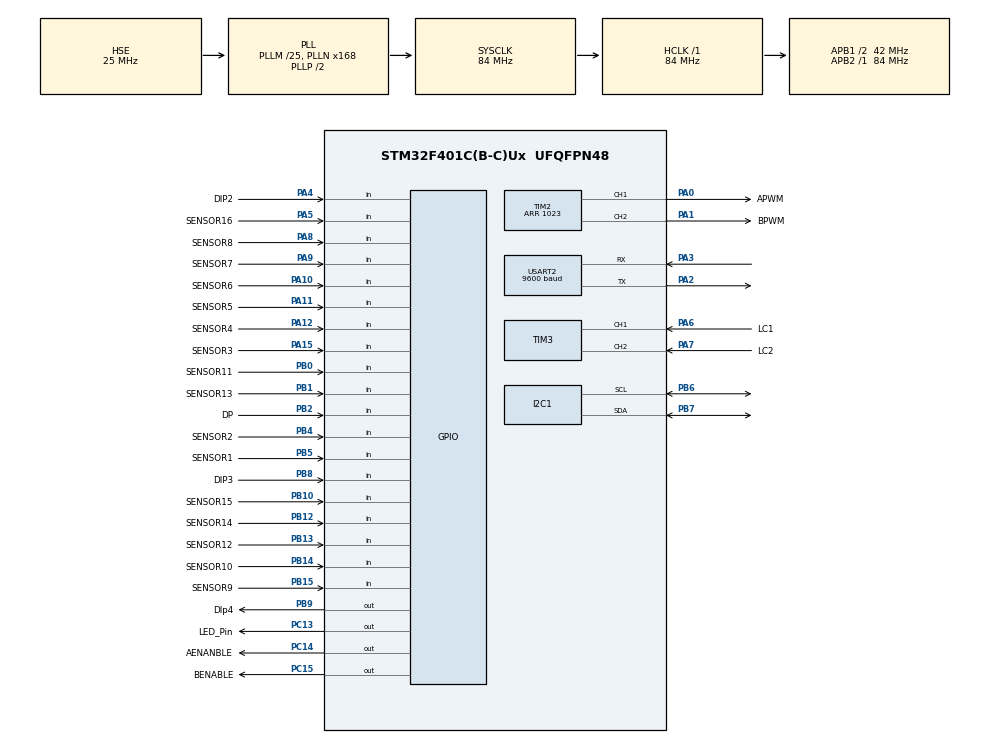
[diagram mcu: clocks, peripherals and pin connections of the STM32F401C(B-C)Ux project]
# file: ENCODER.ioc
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Mcu.Family=STM32F4
Mcu.Name=STM32F401C(B-C)Ux
Mcu.Package=UFQFPN48
NVIC.PriorityGroup=NVIC_PRIORITYGROUP_4
PA0-WKUP.GPIO_Label=APWM
PA0-WKUP.Signal=S_TIM2_CH1_ETR
PA1.GPIO_Label=BPWM
PA1.Signal=S_TIM2_CH2
PA10.GPIO_Label=SENSOR6
PA10.Signal=GPIO_Input
PA11.GPIO_Label=SENSOR5
PA11.Signal=GPIO_Input
PA12.GPIO_Label=SENSOR4
PA12.Signal=GPIO_Input
PA13.Mode=Trace_Asynchronous_SW
PA13.Signal=SYS_JTMS-SWDIO
PA14.Mode=Trace_Asynchronous_SW
PA14.Signal=SYS_JTCK-SWCLK
PA15.GPIO_Label=SENSOR3
PA15.Signal=GPIO_Input
PA2.Mode=Asynchronous
PA2.Signal=USART2_TX
PA3.Mode=Asynchronous
PA3.Signal=USART2_RX
PA4.GPIO_Label=DIP2
PA4.Signal=GPIO_Input
PA5.GPIO_Label=SENSOR16
PA5.Signal=GPIO_Input
PA6.GPIO_Label=LC1
PA6.Signal=S_TIM3_CH1
PA7.GPIO_Label=LC2
PA7.Signal=S_TIM3_CH2
PA8.GPIO_Label=SENSOR8
PA8.GPIO_PuPd=GPIO_NOPULL
PA8.Signal=GPIO_Input
PA9.GPIO_Label=SENSOR7
PA9.Signal=GPIO_Input
PB0.GPIO_Label=SENSOR11
PB0.Signal=GPIO_Input
PB1.GPIO_Label=SENSOR13
PB1.Signal=GPIO_Input
PB10.GPIO_Label=SENSOR15
PB10.Signal=GPIO_Input
PB12.GPIO_Label=SENSOR14
PB12.Signal=GPIO_Input
PB13.GPIO_Label=SENSOR12
PB13.Signal=GPIO_Input
PB14.GPIO_Label=SENSOR10
PB14.Signal=GPIO_Input
PB15.GPIO_Label=SENSOR9
PB15.Signal=GPIO_Input
PB2.GPIO_Label=DP
PB2.Signal=GPIO_Input
PB3.Mode=Trace_Asynchronous_SW
PB3.Signal=SYS_JTDO-SWO
PB4.GPIO_Label=SENSOR2
PB4.Signal=GPIO_Input
PB5.GPIO_Label=SENSOR1
PB5.Signal=GPIO_Input
PB6.Mode=I2C
PB6.Signal=I2C1_SCL
PB7.Mode=I2C
PB7.Signal=I2C1_SDA
PB8.GPIO_Label=DIP3
PB8.Signal=GPIO_Input
PB9.GPIO_Label=DIp4
PB9.Signal=GPIO_Output
PC13-ANTI_TAMP.GPIO_Label=LED_Pin
PC13-ANTI_TAMP.PinState=GPIO_PIN_RESET
PC13-ANTI_TAMP.Signal=GPIO_Output
PC14-OSC32_IN.GPIO_Label=AENANBLE
PC14-OSC32_IN.Signal=GPIO_Output
PC15-OSC32_OUT.GPIO_Label=BENABLE
PC15-OSC32_OUT.Signal=GPIO_Output
PH0\ -\ OSC_IN.Mode=HSE-External-Oscillator
PH0\ -\ OSC_IN.Signal=RCC_OSC_IN
PH1\ -\ OSC_OUT.Mode=HSE-External-Oscillator
PH1\ -\ OSC_OUT.Signal=RCC_OSC_OUT
ProjectManager.HeapSize=0x200
ProjectManager.StackSize=0x400
ProjectManager.TargetToolchain=STM32CubeIDE
RCC.48MHZClocksFreq_Value=42000000
RCC.AHBFreq_Value=84000000
RCC.APB1CLKDivider=RCC_HCLK_DIV2
RCC.APB1Freq_Value=42000000
RCC.APB1TimFreq_Value=84000000
RCC.APB2Freq_Value=84000000
RCC.APB2TimFreq_Value=84000000
RCC.CortexFreq_Value=84000000
RCC.HCLKFreq_Value=84000000
RCC.HSE_VALUE=25000000
RCC.HSI_VALUE=16000000
RCC.LSE_VALUE=32768
RCC.PLLM=25
RCC.PLLN=168
RCC.PLLSourceVirtual=RCC_PLLSOURCE_HSE
RCC.SYSCLKFreq_VALUE=84000000
RCC.SYSCLKSource=RCC_SYSCLKSOURCE_PLLCLK
RCC.VCOOutputFreq_Value=168000000
SH.S_TIM2_CH1_ETR.0=TIM2_CH1,PWM Generation1 CH1
SH.S_TIM2_CH2.0=TIM2_CH2,PWM Generation2 CH2
SH.S_TIM3_CH1.0=TIM3_CH1,Encoder_Interface
SH.S_TIM3_CH2.0=TIM3_CH2,Encoder_Interface
TIM2.Channel-PWM\ Generation1\ CH1=TIM_CHANNEL_1
TIM2.Channel-PWM\ Generation2\ CH2=TIM_CHANNEL_2
TIM2.Period=1023
TIM3.AutoReloadPreload=TIM_AUTORELOAD_PRELOAD_ENABLE
TIM3.EncoderMode=TIM_ENCODERMODE_TI12
TIM3.IC1Filter=10
TIM3.IC2Polarity=TIM_ICPOLARITY_RISING
USART2.BaudRate=9600
USART2.VirtualMode=VM_ASYNC
VP_TIM2_VS_ClockSourceINT.Mode=Internal
board=custom

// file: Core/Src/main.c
/* USER CODE BEGIN Header */
/**
  ******************************************************************************
  * @file           : main.c
  * @brief          : Main program body
  ******************************************************************************
  * @attention
  *
  * Copyright (c) 2024 STMicroelectronics.
  * All rights reserved.
  *
  * This software is licensed under terms that can be found in the LICENSE file
  * in the root directory of this software component.
  * If no LICENSE file comes with this software, it is provided AS-IS.
  *
  ******************************************************************************
  */
/* USER CODE END Header */
#include "main.h"
#include "i2c.h"
#include "tim.h"
#include "usart.h"
#include "gpio.h"

/* USER CODE BEGIN Includes */
#include "stdio.h" // Needed for debugging
//#include "i2c.h"
//#include "MPUXX50.h"
/* USER CODE END Includes */

/* USER CODE BEGIN PM */

#define SYSTICK_LOAD (SystemCoreClock/1000000U)
#define SYSTICK_DELAY_CALIB (SYSTICK_LOAD >> 1)

#define DELAY_US(us) \
    do { \
         uint32_t start = SysTick->VAL; \
         uint32_t ticks = (us * SYSTICK_LOAD)-SYSTICK_DELAY_CALIB;  \
         while((start - SysTick->VAL) < ticks); \
    } while (0)

/* USER CODE END PM */

/* USER CODE BEGIN PV */

//int sensor_read = 0x00000000;
	int position;

	float Kp = 0.09;//0.083*1.9*1.2;//0.120/26;// 0.00325,0.0195,0.5 for 556 Base_speed also works for 656 but slghlty unstable
	float Ki = 0;  //0.05,0.024,0.8 for 700 Base_speed
	float Kd = 0.95;//.83*0.6*1.05; //0.03*5;//1.2; //0.5
	float Kr = 0.001;//do not touch
	int P, I, D, R;
	int lastError = 0;
	int errors[10] = {0,0,0,0,0,0,0,0,0,0};
	int error_sum = 0;
	int last_end = 0;	// 0 -> Left, 1 -> Right
	int last_idle = 0;

	uint32_t basespeed = 650;
	uint32_t maxspeedr = 1000;
	uint32_t maxspeedl = 1000;
	uint32_t basespeedr = 750; // as a minimum 125 works
	uint32_t basespeedl = 750;// as a minimum 125 works
	const uint32_t sharp = 0;
	const int ARR = 1;//do nout touch
	const int poser = 2;//do not touch
	int SENSOR_DELAY = 5000;
	int calib_active =0;

	int actives = 0;

/* USER CODE END PV */

void SystemClock_Config(void);

/* USER CODE BEGIN 0 */
	int _write(int file, char *ptr , int len)
		{
			int DataIdx;
			for(DataIdx=0;DataIdx<len; DataIdx++){
				ITM_SendChar(*ptr++);
			}return len;
		}

	void Set_Pin_Output (GPIO_TypeDef *GPIOx, uint16_t GPIO_Pin)
	{
		GPIO_InitTypeDef GPIO_InitStruct = {0};
		GPIO_InitStruct.Pin = GPIO_Pin;
		GPIO_InitStruct.Mode = GPIO_MODE_OUTPUT_PP;
		GPIO_InitStruct.Speed = GPIO_SPEED_FREQ_LOW;
		HAL_GPIO_Init(GPIOx, &GPIO_InitStruct);
	}

	void Set_Pin_Input (GPIO_TypeDef *GPIOx, uint16_t GPIO_Pin)
	{
		GPIO_InitTypeDef GPIO_InitStruct = {0};
		GPIO_InitStruct.Pin = GPIO_Pin;
		GPIO_InitStruct.Mode = GPIO_MODE_INPUT;
		GPIO_InitStruct.Pull = GPIO_PULLUP;
		HAL_GPIO_Init(GPIOx, &GPIO_InitStruct);
	}

	void motor_control (double pos_right, double pos_left)
	{
		if (pos_left < 0 )
		{
			HAL_GPIO_WritePin(AENANBLE_GPIO_Port, AENANBLE_Pin, 1);
			__HAL_TIM_SET_COMPARE (&htim2, TIM_CHANNEL_2, -1*pos_left);  //run left motor in reverese
		}
		else
		{
			HAL_GPIO_WritePin(AENANBLE_GPIO_Port, AENANBLE_Pin, 0);
			__HAL_TIM_SET_COMPARE (&htim2, TIM_CHANNEL_2, ARR*pos_left); // run left motor forward

		}
		if (pos_right < 0 )
		{
			HAL_GPIO_WritePin(BENABLE_GPIO_Port, BENABLE_Pin, 1); //run right motor reverse
			__HAL_TIM_SET_COMPARE (&htim2, TIM_CHANNEL_1, -1*pos_right);
		}
		else
		{
			HAL_GPIO_WritePin(BENABLE_GPIO_Port, BENABLE_Pin, 0);
			__HAL_TIM_SET_COMPARE (&htim2, TIM_CHANNEL_1, ARR*pos_right); // run right motor forward
			//printf("motor control: %lf %lf",pos_left,pos_right);

		}
		printf("Motor : %lf %lf", pos_left, pos_right);

	}

	int QTR16_read() {
	    //uint32_t sensor_read = 0x00000000;
	    int pos = 0;
	    int active = 0;
	    //int last_end = -1;  // Initialize to -1 to indicate no sensors are read yet already declared as global variable
	   // int actives;
	    //int last_idle = 0;
	    //int position;

		Set_Pin_Output(SENSOR1_GPIO_Port, SENSOR1_Pin);
		Set_Pin_Output(SENSOR2_GPIO_Port, SENSOR2_Pin);
		Set_Pin_Output(SENSOR3_GPIO_Port, SENSOR3_Pin);
		Set_Pin_Output(SENSOR4_GPIO_Port, SENSOR4_Pin);
		Set_Pin_Output(SENSOR5_GPIO_Port, SENSOR5_Pin);
		Set_Pin_Output(SENSOR6_GPIO_Port, SENSOR6_Pin);
		Set_Pin_Output(SENSOR7_GPIO_Port, SENSOR7_Pin);
		Set_Pin_Output(SENSOR8_GPIO_Port, SENSOR8_Pin);
		Set_Pin_Output(SENSOR9_GPIO_Port, SENSOR9_Pin);
		Set_Pin_Output(SENSOR10_GPIO_Port, SENSOR10_Pin);
		Set_Pin_Output(SENSOR11_GPIO_Port, SENSOR11_Pin);
		Set_Pin_Output(SENSOR12_GPIO_Port, SENSOR12_Pin);
		Set_Pin_Output(SENSOR13_GPIO_Port, SENSOR13_Pin);
		Set_Pin_Output(SENSOR14_GPIO_Port, SENSOR14_Pin);
		Set_Pin_Output(SENSOR15_GPIO_Port, SENSOR15_Pin);
		Set_Pin_Output(SENSOR16_GPIO_Port, SENSOR16_Pin);

		HAL_GPIO_WritePin(SENSOR1_GPIO_Port, SENSOR1_Pin,1);
		HAL_GPIO_WritePin(SENSOR2_GPIO_Port, SENSOR2_Pin,1);
		HAL_GPIO_WritePin(SENSOR3_GPIO_Port, SENSOR3_Pin,1);
		HAL_GPIO_WritePin(SENSOR4_GPIO_Port, SENSOR4_Pin,1);
		HAL_GPIO_WritePin(SENSOR5_GPIO_Port, SENSOR5_Pin,1);
		HAL_GPIO_WritePin(SENSOR6_GPIO_Port, SENSOR6_Pin,1);
		HAL_GPIO_WritePin(SENSOR7_GPIO_Port, SENSOR7_Pin,1);
		HAL_GPIO_WritePin(SENSOR8_GPIO_Port, SENSOR8_Pin,1);
		HAL_GPIO_WritePin(SENSOR9_GPIO_Port, SENSOR9_Pin,1);
		HAL_GPIO_WritePin(SENSOR10_GPIO_Port, SENSOR10_Pin,1);
		HAL_GPIO_WritePin(SENSOR11_GPIO_Port, SENSOR11_Pin,1);
		HAL_GPIO_WritePin(SENSOR12_GPIO_Port, SENSOR12_Pin,1);
		HAL_GPIO_WritePin(SENSOR13_GPIO_Port, SENSOR13_Pin,1);
		HAL_GPIO_WritePin(SENSOR14_GPIO_Port, SENSOR14_Pin,1);
		HAL_GPIO_WritePin(SENSOR15_GPIO_Port, SENSOR15_Pin,1);
		HAL_GPIO_WritePin(SENSOR16_GPIO_Port, SENSOR16_Pin,1);

		DELAY_US(20);

		Set_Pin_Input(SENSOR1_GPIO_Port, SENSOR1_Pin);
		Set_Pin_Input(SENSOR2_GPIO_Port, SENSOR2_Pin);
		Set_Pin_Input(SENSOR3_GPIO_Port, SENSOR3_Pin);
		Set_Pin_Input(SENSOR4_GPIO_Port, SENSOR4_Pin);
		Set_Pin_Input(SENSOR5_GPIO_Port, SENSOR5_Pin);
		Set_Pin_Input(SENSOR6_GPIO_Port, SENSOR6_Pin);
		Set_Pin_Input(SENSOR7_GPIO_Port, SENSOR7_Pin);
		Set_Pin_Input(SENSOR8_GPIO_Port, SENSOR8_Pin);
		Set_Pin_Input(SENSOR9_GPIO_Port, SENSOR9_Pin);
		Set_Pin_Input(SENSOR10_GPIO_Port, SENSOR10_Pin);
		Set_Pin_Input(SENSOR11_GPIO_Port, SENSOR11_Pin);
		Set_Pin_Input(SENSOR12_GPIO_Port, SENSOR12_Pin);
		Set_Pin_Input(SENSOR13_GPIO_Port, SENSOR13_Pin);
		Set_Pin_Input(SENSOR14_GPIO_Port, SENSOR14_Pin);
		Set_Pin_Input(SENSOR15_GPIO_Port, SENSOR15_Pin);
		Set_Pin_Input(SENSOR16_GPIO_Port, SENSOR16_Pin);

		// Threshold
		DELAY_US(4500);
		//DELAY_US(25);
		/*for(int i=0;i<=SENSOR_DELAY;i++)
			DELAY_US(500); */

		 printf("Hello");

	    // Read from 16 sensors
		//printf("Sensor read called");
		/*
	    if (HAL_GPIO_ReadPin(SENSOR1_GPIO_Port, SENSOR1_Pin)) {
	        //sensor_read |= 0x00000001;
	       pos += -500;
	        active++;
	        last_end = 1;
	        printf("1");
	    }
	    if (HAL_GPIO_ReadPin(SENSOR2_GPIO_Port, SENSOR2_Pin)) {
	       // sensor_read |= 0x00000002;0
	        pos += 1400;
	        active++;
	       // last_end = 1;
	        printf("2");
	    }
	    if (HAL_GPIO_ReadPin(SENSOR3_GPIO_Port, SENSOR3_Pin)) {
	      //  sensor_read |= 0x00000004;
	        pos += 2300;
	        active++;
	        printf("3");
	    }
	    if (HAL_GPIO_ReadPin(SENSOR4_GPIO_Port, SENSOR4_Pin)) {
	       // sensor_read |= 0x00000008;
	        pos += 3200;
	        active++;
	        printf("4");
	    }
	    */
	    if (HAL_GPIO_ReadPin(SENSOR5_GPIO_Port, SENSOR5_Pin)) {
	        //sensor_read |= 0x00000010;
	        pos += 1000;
	        active++;
	        last_end=1;
	        printf("5");
	    }
	    if (HAL_GPIO_ReadPin(SENSOR6_GPIO_Port, SENSOR6_Pin)) {
	       // sensor_read |= 0x00000020;
	        pos += 2000;
	        active++;
	        printf("6");
	    }
	    if (HAL_GPIO_ReadPin(SENSOR7_GPIO_Port, SENSOR7_Pin)) {
	       // sensor_read |= 0x00000040;
	        pos += 3000;
	        active++;
	        printf("7");
	    }
	    if (HAL_GPIO_ReadPin(SENSOR8_GPIO_Port, SENSOR8_Pin)) {
	      //  sensor_read |= 0x00000080;
	        pos += 4000;
	        active++;
	        printf("8");
	    }
	    if (HAL_GPIO_ReadPin(SENSOR9_GPIO_Port, SENSOR9_Pin)) {
	       // sensor_read |= 0x00000100;
	        pos += 5000;
	        active++;
	        printf("9");
	    }
	    if (HAL_GPIO_ReadPin(SENSOR10_GPIO_Port, SENSOR10_Pin)) {
	      //  sensor_read |= 0x00000200;
	        pos += 6000;
	        active++;
	        printf("10");
	    }
	    if (HAL_GPIO_ReadPin(SENSOR11_GPIO_Port, SENSOR11_Pin)) {
	      //  sensor_read |= 0x00000400;
	        pos += 7000;
	        active++;
	        printf("11");
	    }
	    if (HAL_GPIO_ReadPin(SENSOR12_GPIO_Port, SENSOR12_Pin)) {
	      //  sensor_read |= 0x00000800;
	        pos += 8000;
	        active++;
	        last_end=0;
	        printf("12");
	    }
	    /*
	    if (HAL_GPIO_ReadPin(SENSOR13_GPIO_Port, SENSOR13_Pin)) {
	      //  sensor_read |= 0x00001000;
	        pos += 11800;
	        active++;
	        printf("13");
	    }
	    if (HAL_GPIO_ReadPin(SENSOR14_GPIO_Port, SENSOR14_Pin)) {
	       // sensor_read |= 0x00002000;
	        pos += 12700;
	        active++;
	        printf("14");
	    }
	    if (HAL_GPIO_ReadPin(SENSOR15_GPIO_Port, SENSOR15_Pin)) {
	      // sensor_read |= 0x00004000;
	        pos += 13600;
	        active++;
	       // last_end = 0;
	        printf("15");
	    }
	    if (HAL_GPIO_ReadPin(SENSOR16_GPIO_Port, SENSOR16_Pin)) {
	       // sensor_read |= 0x00008000;
	        pos += 14500;
	        active++;
	        last_end = 0;
	        printf("16");
	    }
	*/
	    // Calculate the average position
	    actives = active;
	     // Handle division by zero
	    //position = pos/active;
	    if (actives == 0){
	        last_idle++;
	    	return -1;
	    }else
	    {
	        last_idle = 0;
	    }
	    printf("helloo\n");

	   // HAL_Delay(10);

	    return   pos / active ;
	    //return 0;

	}

	void sharp_turn () {

			if (last_idle < 10)   //last idle increments while no sensor reads a line and causes bot to turn to find line
			{						// set to handle curves
				if (last_end == 0) //last end tells which side of sensor array last saw the line
					motor_control(200, 500);
				else
					motor_control(500, 200);
				//tune the values to handle the curves
			}
			else //set to handle sharp turns
			{
				if (last_end == 0)
					motor_control(-230, 1000);// tune the values to handle the sharp turns
				else
					motor_control(1000, -230);
			}
			printf("Sharp turn");
		}

	void forward_brake(int pos_right, int pos_left)
	{
		if (actives == 0)
			sharp_turn();
		else
		  motor_control(pos_right, pos_left);
	}
	int errors_sum (int index, int abs)
	{
	  int sum = 0;
	  for (int i = 0; i < index; i++)
	  {
	    if (abs == 1 && errors[i] < 0)
	      sum += -errors[i];
	    else
	      sum += errors[i];
	  }
	  return sum;
	}
	void past_errors (int error)
		{
		  for (int i = 9; i > 0; i--)
			  errors[i] = errors[i-1];
		  errors[0] = error;
		}

/*
	void past_errors (int error)
	{
	  for (int i = 9; i > 0; i--)
		  errors[i] = errors[i-1];
	  errors[0] = error;
	}

	int errors_sum (int index, int abs)
	{
	  int sum = 0;
	  for (int i = 0; i < index; i++)
	  {
		if ((abs == 1) &( errors[i] < 0))
		  sum += -errors[i];
		else
		  sum += errors[i];
	  }
	  return sum;
	}//*/

	void PID_control() {
		uint32_t position = QTR16_read();
	  int error = (4500) - position;  // needs to be changed for 16 array?
		past_errors(error);

	  P = error;
	  I = 0;//errors_sum(5, 0);
	  D = error - lastError;
	  R = errors_sum(3, 1);
	  lastError = error;

	  int motorspeed = P*Kp + I*Ki + D*Kd;

	  int motorspeedl = basespeedl + motorspeed - R*Kr;
	  int motorspeedr = basespeedr - motorspeed - R*Kr;

	  if (motorspeedl > maxspeedl){   //implement antiwindup for potential speed increase and acuracy?
		motorspeedl = maxspeedl;
	  }
	  if (motorspeedr > maxspeedr){
		motorspeedr = maxspeedr;
	  }
	  //printf("Motor SPEEDS : %d %d", motorspeedl, motorspeedr);

		forward_brake(motorspeedr, motorspeedl);
	}

	void Sensor_Calib(){
		//SENSOR_DELAY =7000;
		//calib_active = 0;
		while(calib_active <8){
			//printf("hi");
			calib_active = 0;
		Set_Pin_Output(SENSOR1_GPIO_Port, SENSOR1_Pin);
				Set_Pin_Output(SENSOR2_GPIO_Port, SENSOR2_Pin);
				Set_Pin_Output(SENSOR3_GPIO_Port, SENSOR3_Pin);
				Set_Pin_Output(SENSOR4_GPIO_Port, SENSOR4_Pin);
				Set_Pin_Output(SENSOR5_GPIO_Port, SENSOR5_Pin);
				Set_Pin_Output(SENSOR6_GPIO_Port, SENSOR6_Pin);
				Set_Pin_Output(SENSOR7_GPIO_Port, SENSOR7_Pin);
				Set_Pin_Output(SENSOR8_GPIO_Port, SENSOR8_Pin);
				Set_Pin_Output(SENSOR9_GPIO_Port, SENSOR9_Pin);
				Set_Pin_Output(SENSOR10_GPIO_Port, SENSOR10_Pin);
				Set_Pin_Output(SENSOR11_GPIO_Port, SENSOR11_Pin);
				Set_Pin_Output(SENSOR12_GPIO_Port, SENSOR12_Pin);
				Set_Pin_Output(SENSOR13_GPIO_Port, SENSOR13_Pin);
				Set_Pin_Output(SENSOR14_GPIO_Port, SENSOR14_Pin);
				Set_Pin_Output(SENSOR15_GPIO_Port, SENSOR15_Pin);
				Set_Pin_Output(SENSOR16_GPIO_Port, SENSOR16_Pin);

				HAL_GPIO_WritePin(SENSOR1_GPIO_Port, SENSOR1_Pin,1);
				HAL_GPIO_WritePin(SENSOR2_GPIO_Port, SENSOR2_Pin,1);
				HAL_GPIO_WritePin(SENSOR3_GPIO_Port, SENSOR3_Pin,1);
				HAL_GPIO_WritePin(SENSOR4_GPIO_Port, SENSOR4_Pin,1);
				HAL_GPIO_WritePin(SENSOR5_GPIO_Port, SENSOR5_Pin,1);
				HAL_GPIO_WritePin(SENSOR6_GPIO_Port, SENSOR6_Pin,1);
				HAL_GPIO_WritePin(SENSOR7_GPIO_Port, SENSOR7_Pin,1);
				HAL_GPIO_WritePin(SENSOR8_GPIO_Port, SENSOR8_Pin,1);
				HAL_GPIO_WritePin(SENSOR9_GPIO_Port, SENSOR9_Pin,1);
				HAL_GPIO_WritePin(SENSOR10_GPIO_Port, SENSOR10_Pin,1);
				HAL_GPIO_WritePin(SENSOR11_GPIO_Port, SENSOR11_Pin,1);
				HAL_GPIO_WritePin(SENSOR12_GPIO_Port, SENSOR12_Pin,1);
				HAL_GPIO_WritePin(SENSOR13_GPIO_Port, SENSOR13_Pin,1);
				HAL_GPIO_WritePin(SENSOR14_GPIO_Port, SENSOR14_Pin,1);
				HAL_GPIO_WritePin(SENSOR15_GPIO_Port, SENSOR15_Pin,1);
				HAL_GPIO_WritePin(SENSOR16_GPIO_Port, SENSOR16_Pin,1);

				DELAY_US(15);

				Set_Pin_Input(SENSOR1_GPIO_Port, SENSOR1_Pin);
				Set_Pin_Input(SENSOR2_GPIO_Port, SENSOR2_Pin);
				Set_Pin_Input(SENSOR3_GPIO_Port, SENSOR3_Pin);
				Set_Pin_Input(SENSOR4_GPIO_Port, SENSOR4_Pin);
				Set_Pin_Input(SENSOR5_GPIO_Port, SENSOR5_Pin);
				Set_Pin_Input(SENSOR6_GPIO_Port, SENSOR6_Pin);
				Set_Pin_Input(SENSOR7_GPIO_Port, SENSOR7_Pin);
				Set_Pin_Input(SENSOR8_GPIO_Port, SENSOR8_Pin);
				Set_Pin_Input(SENSOR9_GPIO_Port, SENSOR9_Pin);
				Set_Pin_Input(SENSOR10_GPIO_Port, SENSOR10_Pin);
				Set_Pin_Input(SENSOR11_GPIO_Port, SENSOR11_Pin);
				Set_Pin_Input(SENSOR12_GPIO_Port, SENSOR12_Pin);
				Set_Pin_Input(SENSOR13_GPIO_Port, SENSOR13_Pin);
				Set_Pin_Input(SENSOR14_GPIO_Port, SENSOR14_Pin);
				Set_Pin_Input(SENSOR15_GPIO_Port, SENSOR15_Pin);
				Set_Pin_Input(SENSOR16_GPIO_Port, SENSOR16_Pin);

				DELAY_US(SENSOR_DELAY);
						if (HAL_GPIO_ReadPin(SENSOR1_GPIO_Port, SENSOR1_Pin)) {

							calib_active++;
					        printf("1");
					    }
					    if (HAL_GPIO_ReadPin(SENSOR2_GPIO_Port, SENSOR2_Pin)) {
					        calib_active++;
					        printf("2");
					    }
					    if (HAL_GPIO_ReadPin(SENSOR3_GPIO_Port, SENSOR3_Pin)) {
					    	calib_active++;;
					        printf("3");
					    }
					    if (HAL_GPIO_ReadPin(SENSOR4_GPIO_Port, SENSOR4_Pin)) {
					    	calib_active++;
					        printf("4");
					    }
					    if (HAL_GPIO_ReadPin(SENSOR5_GPIO_Port, SENSOR5_Pin)) {
					    	calib_active++;
					        printf("5");
					    }
					    if (HAL_GPIO_ReadPin(SENSOR6_GPIO_Port, SENSOR6_Pin)) {
					    	calib_active++;
					        printf("6");
					    }
					    if (HAL_GPIO_ReadPin(SENSOR7_GPIO_Port, SENSOR7_Pin)) {
					    	calib_active++;
					        printf("7");
					    }
					    if (HAL_GPIO_ReadPin(SENSOR8_GPIO_Port, SENSOR8_Pin)) {
					    	calib_active++;
					        printf("8");
					    }
					    if (HAL_GPIO_ReadPin(SENSOR9_GPIO_Port, SENSOR9_Pin)) {
					        calib_active++;
					        printf("9");
					    }
					    if (HAL_GPIO_ReadPin(SENSOR10_GPIO_Port, SENSOR10_Pin)) {
					    	calib_active++;
					        printf("10");
					    }
					    if (HAL_GPIO_ReadPin(SENSOR11_GPIO_Port, SENSOR11_Pin)) {
					    	calib_active++;
					        printf("11");
					    }
					    if (HAL_GPIO_ReadPin(SENSOR12_GPIO_Port, SENSOR12_Pin)) {
					    	calib_active++;
					        printf("12");
					    }
					    if (HAL_GPIO_ReadPin(SENSOR13_GPIO_Port, SENSOR13_Pin)) {
					    	calib_active++;
					        printf("13");
					    }
					    if (HAL_GPIO_ReadPin(SENSOR14_GPIO_Port, SENSOR14_Pin)) {
					    	calib_active++;
					        printf("14");
					    }
					    if (HAL_GPIO_ReadPin(SENSOR15_GPIO_Port, SENSOR15_Pin)) {
					    	calib_active++;
					        printf("15");
					    }
					    if (HAL_GPIO_ReadPin(SENSOR16_GPIO_Port, SENSOR16_Pin)) {
					    	//calib_active++;
					        printf("16");
					    }

					    printf("\n%d\n",SENSOR_DELAY--);
		}

	}

/* USER CODE END 0 */

int main(void)
{

  /* MCU Configuration--------------------------------------------------------*/

  /* Reset of all peripherals, Initializes the Flash interface and the Systick. */
  HAL_Init();

  /* Configure the system clock */
  SystemClock_Config();

  /* Initialize all configured peripherals */
  MX_GPIO_Init();
  MX_TIM3_Init();
  MX_TIM2_Init();
  MX_USART2_UART_Init();
  MX_I2C1_Init();
  /* USER CODE BEGIN 2 */
  HAL_TIM_Encoder_Start(&htim3, TIM_CHANNEL_ALL);
 // HAL_TIM_Encoder_Start(&htim4, TIM_CHANNEL_ALL);
  HAL_TIM_PWM_Start(&htim2, TIM_CHANNEL_1);
  HAL_TIM_PWM_Start(&htim2, TIM_CHANNEL_2);

  /* USER CODE END 2 */

  /* Infinite loop */
  while (1)
  {

    /* USER CODE BEGIN 3 */
	 //QTR16_read();
	  PID_control();
	  //printf("Hi");

	  //Sensor_Calib();
	  //printf("hi\n");
	  //printf("delay %d\n",SENSOR_DELAY);
	  //HAL_GPIO_WritePin(BENABLE_GPIO_Port, BENABLE_Pin, 0);
	  //__HAL_TIM_SET_COMPARE(&htim2,TIM_CHANNEL_1,1023);
	  //HAL_GPIO_WritePin(AENANBLE_GPIO_Port, AENANBLE_Pin, 1);
	  //__HAL_TIM_SET_COMPARE(&htim2,TIM_CHANNEL_2,1023);
  }
  /* USER CODE END 3 */
}

void SystemClock_Config(void)
{
  RCC_OscInitTypeDef RCC_OscInitStruct = {0};
  RCC_ClkInitTypeDef RCC_ClkInitStruct = {0};

  /** Configure the main internal regulator output voltage
  */
  __HAL_RCC_PWR_CLK_ENABLE();
  __HAL_PWR_VOLTAGESCALING_CONFIG(PWR_REGULATOR_VOLTAGE_SCALE2);

  /** Initializes the RCC Oscillators according to the specified parameters
  * in the RCC_OscInitTypeDef structure.
  */
  RCC_OscInitStruct.OscillatorType = RCC_OSCILLATORTYPE_HSE;
  RCC_OscInitStruct.HSEState = RCC_HSE_ON;
  RCC_OscInitStruct.PLL.PLLState = RCC_PLL_ON;
  RCC_OscInitStruct.PLL.PLLSource = RCC_PLLSOURCE_HSE;
  RCC_OscInitStruct.PLL.PLLM = 25;
  RCC_OscInitStruct.PLL.PLLN = 168;
  RCC_OscInitStruct.PLL.PLLP = RCC_PLLP_DIV2;
  RCC_OscInitStruct.PLL.PLLQ = 4;
  if (HAL_RCC_OscConfig(&RCC_OscInitStruct) != HAL_OK)
  {
    Error_Handler();
  }

  /** Initializes the CPU, AHB and APB buses clocks
  */
  RCC_ClkInitStruct.ClockType = RCC_CLOCKTYPE_HCLK|RCC_CLOCKTYPE_SYSCLK
                              |RCC_CLOCKTYPE_PCLK1|RCC_CLOCKTYPE_PCLK2;
  RCC_ClkInitStruct.SYSCLKSource = RCC_SYSCLKSOURCE_PLLCLK;
  RCC_ClkInitStruct.AHBCLKDivider = RCC_SYSCLK_DIV1;
  RCC_ClkInitStruct.APB1CLKDivider = RCC_HCLK_DIV2;
  RCC_ClkInitStruct.APB2CLKDivider = RCC_HCLK_DIV1;

  if (HAL_RCC_ClockConfig(&RCC_ClkInitStruct, FLASH_LATENCY_2) != HAL_OK)
  {
    Error_Handler();
  }
}

void Error_Handler(void)
{
  __disable_irq();
  while (1)
  {
  }
}
